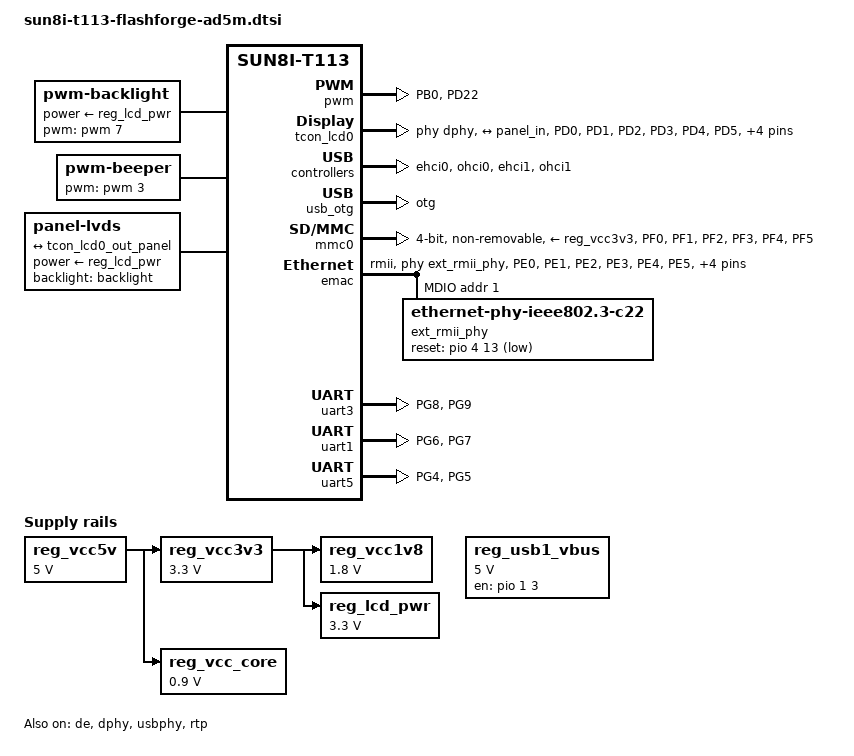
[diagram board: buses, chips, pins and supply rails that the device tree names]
// SPDX-License-Identifier: (GPL-2.0+ OR MIT)
/*
 * Device Tree Source for FlashForge Adventurer 5M / 5M Pro
 * Common hardware definitions
 */

#include <dt-bindings/gpio/gpio.h>
#include <dt-bindings/interrupt-controller/irq.h>
#include <dt-bindings/pwm/pwm.h>

/ {
	aliases {
		serial0 = &uart0;
		serial1 = &uart1;
		serial3 = &uart3;
		serial5 = &uart5;
		mmc0 = &mmc0;
		ethernet0 = &emac;
	};

	chosen {
		stdout-path = "serial3:115200n8";
	};

	reg_vcc5v: regulator-5v {
		compatible = "regulator-fixed";
		regulator-name = "vcc-5v";
		regulator-min-microvolt = <5000000>;
		regulator-max-microvolt = <5000000>;
		regulator-always-on;
	};

	reg_vcc3v3: regulator-3v3 {
		compatible = "regulator-fixed";
		regulator-name = "vcc-3v3";
		regulator-min-microvolt = <3300000>;
		regulator-max-microvolt = <3300000>;
		vin-supply = <&reg_vcc5v>;
		regulator-always-on;
	};

	reg_vcc1v8: regulator-1v8 {
		compatible = "regulator-fixed";
		regulator-name = "vcc-1v8";
		regulator-min-microvolt = <1800000>;
		regulator-max-microvolt = <1800000>;
		vin-supply = <&reg_vcc3v3>;
		regulator-always-on;
	};

	reg_vcc_core: regulator-core {
		compatible = "regulator-fixed";
		regulator-name = "vcc-core";
		regulator-min-microvolt = <900000>;
		regulator-max-microvolt = <900000>;
		vin-supply = <&reg_vcc5v>;
		regulator-always-on;
	};

	reg_usb1_vbus: regulator-usb1-vbus {
		compatible = "regulator-fixed";
		regulator-name = "usb1-vbus";
		regulator-min-microvolt = <5000000>;
		regulator-max-microvolt = <5000000>;
		regulator-enable-ramp-delay = <1000>;
		enable-active-high;
		gpio = <&pio 1 3 GPIO_ACTIVE_HIGH>; /* PB3 */
		regulator-always-on;
	};

	reg_lcd_pwr: regulator-lcd-pwr {
		compatible = "regulator-fixed";
		regulator-name = "lcd-pwr";
		regulator-min-microvolt = <3300000>;
		regulator-max-microvolt = <3300000>;
		vin-supply = <&reg_vcc3v3>;
		regulator-always-on;
	};

	/* LCD Backlight via PWM Channel 7 (PD22) */
	backlight: backlight {
		compatible = "pwm-backlight";
		pwms = <&pwm 7 50000 PWM_POLARITY_INVERTED>;
		brightness-levels = <0 10 20 30 40 50 60 70 80 90 100>;
		default-brightness-level = <5>;
		power-supply = <&reg_lcd_pwr>;
	};

	/* Piezo Buzzer via PWM Channel 3 (PB0) */
	beeper: beeper {
		compatible = "pwm-beeper";
		pwms = <&pwm 3 1000000 0>;
	};

	/* 4.3" 800x480 LVDS Panel */
	panel: panel {
		compatible = "panel-lvds";
		width-mm = <108>;
		height-mm = <64>;
		data-mapping = "vesa-24";
		power-supply = <&reg_lcd_pwr>;
		backlight = <&backlight>;

		panel-timing {
			clock-frequency = <33000000>;
			hactive = <800>;
			vactive = <480>;
			hfront-porch = <40>;
			hback-porch = <40>;
			hsync-len = <48>;
			vfront-porch = <10>;
			vback-porch = <32>;
			vsync-len = <3>;
			hsync-active = <0>;
			vsync-active = <0>;
			de-active = <1>;
			pixelclk-active = <0>;
		};

		port {
			panel_in: endpoint {
				remote-endpoint = <&tcon_lcd0_out_panel>;
			};
		};
	};
};

&cpu0 {
	cpu-supply = <&reg_vcc_core>;
};

&cpu1 {
	cpu-supply = <&reg_vcc_core>;
};

&dcxo {
	clock-frequency = <24000000>;
};

/ {
	soc {
		/* Allwinner T113 PWM controller */
		pwm: pwm@2000c00 {
			compatible = "allwinner,sun20i-d1-pwm";
			reg = <0x02000c00 0x400>;
			clocks = <&ccu CLK_BUS_PWM>, <&dcxo>;
			clock-names = "bus", "hosc";
			resets = <&ccu RST_BUS_PWM>;
			#pwm-cells = <3>;
			status = "okay";
		};

		/* Built-in Resistive Touchscreen Controller */
		rtp: rtp@2009c00 {
			compatible = "allwinner,sun8i-ts";
			reg = <0x02009c00 0x400>;
			interrupts = <SOC_PERIPHERAL_IRQ(62) IRQ_TYPE_LEVEL_HIGH>;
			clocks = <&ccu CLK_BUS_GPADC>;
			clock-names = "bus";
			resets = <&ccu RST_BUS_GPADC>;
			allwinner,tp-sensitive-adjust = <15>;
			allwinner,filter-type = <1>;
			allwinner,ts-attached;
			status = "okay";
		};
	};
};

&de {
	status = "okay";
};

&dphy {
	status = "okay";
};

&tcon_lcd0 {
	phys = <&dphy>;
	phy-names = "combo-phy";
	pinctrl-names = "default";
	pinctrl-0 = <&lcd_lvds0_pins>;
	status = "okay";

	ports {
		#address-cells = <1>;
		#size-cells = <0>;

		port@1 {
			reg = <1>;
			tcon_lcd0_out_panel: endpoint {
				remote-endpoint = <&panel_in>;
			};
		};
	};
};

&ehci0 {
	status = "okay";
};

&ohci0 {
	status = "okay";
};

&ccu {
	assigned-clocks = <&ccu CLK_APB1>, <&ccu CLK_PLL_CPUX>;
	assigned-clock-parents = <&ccu CLK_PLL_PERIPH0>;
	assigned-clock-rates = <100000000>, <1200000000>;
};

&ehci1 {
	status = "okay";
};

&ohci1 {
	status = "okay";
};

&usb_otg {
	dr_mode = "otg";
	status = "okay";
};

&usbphy {
	usb1_vbus-supply = <&reg_usb1_vbus>;
	status = "okay";
};

/* Onboard eMMC 5.0 connected to SMHC0 on Port F (PF0-PF5) */
&mmc0 {
	/delete-property/ no-mmc;
	pinctrl-names = "default";
	pinctrl-0 = <&mmc0_pins>;
	vmmc-supply = <&reg_vcc3v3>;
	bus-width = <4>;
	non-removable;
	cap-mmc-highspeed;
	no-sd;
	no-sdio;
	status = "okay";
};

/* Ethernet MAC with IP101GR PHY */
&emac {
	pinctrl-names = "default";
	pinctrl-0 = <&emac_rmii_pins>;
	phy-mode = "rmii";
	phy-handle = <&ext_rmii_phy>;
	allwinner,rx-delay-ps = <3100>;
	allwinner,tx-delay-ps = <700>;
	status = "okay";

	mdio {
		#address-cells = <1>;
		#size-cells = <0>;

		ext_rmii_phy: ethernet-phy@1 {
			compatible = "ethernet-phy-ieee802.3-c22";
			reg = <1>;
			reset-gpios = <&pio 4 13 GPIO_ACTIVE_LOW>; /* PE13 */
			reset-assert-us = <10000>;
			reset-deassert-us = <50000>;
		};
	};
};

&pio {
	vcc-pb-supply = <&reg_vcc3v3>;
	vcc-pc-supply = <&reg_vcc3v3>;
	vcc-pd-supply = <&reg_vcc3v3>;
	vcc-pe-supply = <&reg_vcc3v3>;
	vcc-pf-supply = <&reg_vcc3v3>;
	vcc-pg-supply = <&reg_vcc3v3>;

	mmc0_pins: mmc0-pins {
		pins = "PF0", "PF1", "PF2", "PF3", "PF4", "PF5";
		function = "mmc0";
		drive-strength = <30>;
		bias-pull-up;
	};

	uart1_pg6_pins: uart1-pg6-pins {
		pins = "PG6", "PG7";
		function = "uart1";
		drive-strength = <10>;
		bias-pull-up;
	};

	uart3_pg_pins: uart3-pg-pins {
		pins = "PG8", "PG9";
		function = "uart3";
		bias-pull-up;
	};

	uart5_pins: uart5-pins {
		pins = "PG4", "PG5";
		function = "uart5";
		bias-pull-up;
	};

	pwm3_pb0_pin: pwm3-pb0-pin {
		pins = "PB0";
		function = "pwm3";
	};

	pwm7_pd22_pin: pwm7-pd22-pin {
		pins = "PD22";
		function = "pwm7";
	};

	emac_rmii_pins: emac-rmii-pins {
		pins = "PE0", "PE1", "PE2", "PE3", "PE4",
		       "PE5", "PE6", "PE7", "PE8", "PE9";
		function = "emac";
	};

	lcd_lvds0_pins: lcd-lvds0-pins {
		pins = "PD0", "PD1", "PD2", "PD3", "PD4",
		       "PD5", "PD6", "PD7", "PD8", "PD9";
		function = "lvds0";
		drive-strength = <30>;
		bias-disable;
	};
};

/* PWM controller: PWM3 for buzzer (PB0), PWM7 for backlight (PD22) */
&pwm {
	pinctrl-names = "default";
	pinctrl-0 = <&pwm3_pb0_pin>, <&pwm7_pd22_pin>;
	status = "okay";
};

/* Serial debug console header */
&uart3 {
	pinctrl-names = "default";
	pinctrl-0 = <&uart3_pg_pins>;
	status = "okay";
};

/* Extruder / Toolhead MCU (230400 baud) */
&uart1 {
	pinctrl-names = "default";
	pinctrl-0 = <&uart1_pg6_pins>;
	status = "okay";
};

/* Mainboard MCU (230400 baud) */
&uart5 {
	pinctrl-names = "default";
	pinctrl-0 = <&uart5_pins>;
	status = "okay";
};
